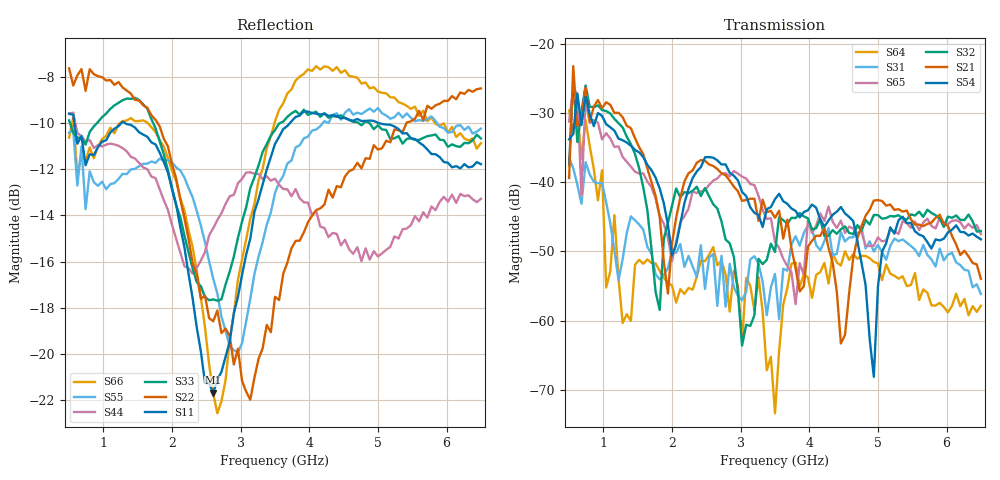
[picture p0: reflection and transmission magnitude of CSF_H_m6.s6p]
!Keysight Technologies,M9804A,MY58100912,A.14.10.03
!Date: Thursday, April 27, 2023 10:28:33
!Correction: S11(C  6-Port  )
!S12(C  6-Port  )
!S13(C  6-Port  )
!S14(C  6-Port  )
!S15(C  6-Port  )
!S16(C  6-Port  )
!S21(C  6-Port  )
!S22(C  6-Port  )
!S23(C  6-Port  )
!S24(C  6-Port  )
!S25(C  6-Port  )
!S26(C  6-Port  )
!S31(C  6-Port  )
!S32(C  6-Port  )
!S33(C  6-Port  )
!S34(C  6-Port  )
!S35(C  6-Port  )
!S36(C  6-Port  )
!S41(C  6-Port  )
!S42(C  6-Port  )
!S43(C  6-Port  )
!S44(C  6-Port  )
!S45(C  6-Port  )
!S46(C  6-Port  )
!S51(C  6-Port  )
!S52(C  6-Port  )
!S53(C  6-Port  )
!S54(C  6-Port  )
!S55(C  6-Port  )
!S56(C  6-Port  )
!S61(C  6-Port  )
!S62(C  6-Port  )
!S63(C  6-Port  )
!S64(C  6-Port  )
!S65(C  6-Port  )
!S66(C  6-Port  )
!S6P File: Measurement: :
# Hz S  RI  R 50
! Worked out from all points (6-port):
!   101 points, 500 MHz to 6.5 GHz, reference 50 ohm
!   strongest paths, dB at 500 MHz, 2 GHz, 3.5 GHz, 5 GHz, 6.5 GHz:
!     S54: -33.8, -50.6, -42.4, -55.1, -48.2
!     S21: -39.4, -48.8, -45.1, -42.6, -54.0
!     S32: -37.5, -43.4, -50.1, -44.7, -47.0
!     S65: -31.2, -51.4, -48.6, -48.0, -47.5
!     S31: -36.5, -50.0, -53.2, -49.1, -56.1
!     S64: -29.6, -54.9, -73.4, -51.7, -57.9
!   lowest |S11| = -21.7 dB at 2.6 GHz (marker M1), VSWR 1.18, Z = 42.7 + j2.04 ohm
!   |S11| at or under -10 dB: 577.6 MHz to 1.26 GHz (681.9 MHz wide, 74.2 % of centre); 1.317 GHz to 3.716 GHz (2.398 GHz wide, 95.3 % of centre); 5.02 GHz to end of sweep
